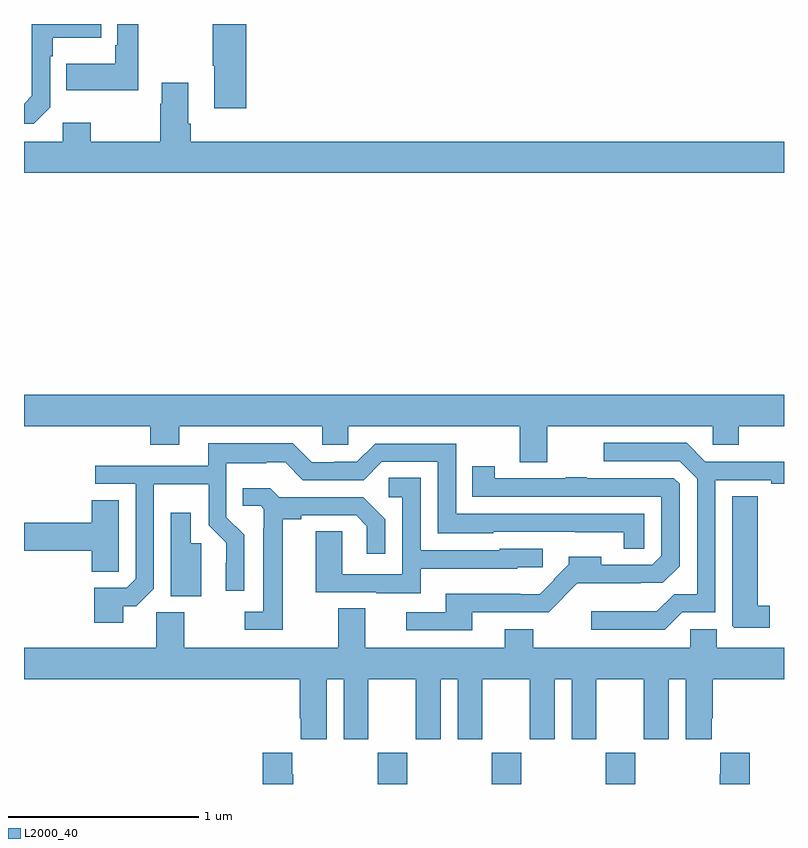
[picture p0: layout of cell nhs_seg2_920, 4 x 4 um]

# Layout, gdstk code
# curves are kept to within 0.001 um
import gdstk
lib = gdstk.Library(unit=1e-6, precision=1e-09)
def R(c, l, rs):  # rectangles x0, y0, x1, y1
    for r in rs: c.add(gdstk.rectangle(r[:2], r[2:], *l))
def A(c, l, x, y, w, h, nx, ny, dx, dy):  # array of equal rectangles
    R(c, l, [(x+i*dx, y+j*dy, x+i*dx+w, y+j*dy+h) for i in range(nx) for j in range(ny)])
def P(c, l, *ps):  # polygons
    for p in ps: c.add(gdstk.Polygon(p, *l))
L2000_40 = (2000, 40)

nhs_seg2_920 = lib.new_cell('nhs_seg2_920')
A(nhs_seg2_920, L2000_40, 160.861, 597.8, 0.155, 0.164, 3, 1, 0.6, 0)
P(nhs_seg2_920, L2000_40, [(159.601,601.8),(159.492,601.8),(159.492,601.687),(159.48,601.687),(159.48,601.591),(159.223,601.591),(159.223,601.451),(159.601,601.451)],
  [(159.138,601.362),(159.138,601.631),(159.151,601.631),(159.151,601.727),(159.407,601.727),(159.407,601.8),(159.042,601.8),(159.042,601.422),(159,601.38),(159,601.275),(159.051,601.275)],
  [(160.169,601.8),(159.994,601.8),(159.994,601.579),(160.001,601.579),(160.001,601.356),(160.169,601.356)],
  [(163,601.18),(159.878,601.18),(159.878,601.276),(159.865,601.276),(159.865,601.492),(159.725,601.492),(159.725,601.379),(159.718,601.379),(159.718,601.18),(159.351,601.18),(159.351,601.279),(159.204,601.279),(159.204,601.18),(159,601.18),(159,601.016),(163,601.016)],
  [(161.755,599.684),(162.624,599.684),(162.624,599.586),(162.763,599.586),(162.763,599.684),(163,599.684),(163,599.848),(159,599.848),(159,599.684),(159.665,599.684),(159.665,599.585),(159.817,599.585),(159.817,599.684),(160.569,599.684),(160.569,599.586),(160.707,599.586),(160.707,599.684),(161.608,599.684),(161.608,599.494),(161.755,599.494)],
  [(162.465,598.704),(162.639,598.704),(162.639,599.4),(162.932,599.4),(162.932,599.38),(163,599.38),(163,599.496),(162.586,599.496),(162.487,599.595),(162.051,599.595),(162.051,599.499),(162.45,599.499),(162.543,599.406),(162.543,598.799),(162.422,598.799),(162.331,598.708),(161.985,598.708),(161.985,598.611),(162.372,598.611)],
  [(159.523,598.735),(159.591,598.735),(159.684,598.827),(159.684,599.378),(159.972,599.378),(159.972,599.162),(160.064,599.07),(160.064,598.964),(160.062,598.964),(160.062,598.818),(160.158,598.818),(160.158,599.112),(160.065,599.205),(160.065,599.489),(160.274,599.489),(160.274,599.493),(160.374,599.493),(160.467,599.4),(160.788,599.4),(160.884,599.496),(161.178,599.496),(161.178,599.12),(161.469,599.12),(161.469,599.127),(162.156,599.126),(162.156,599.038),(162.264,599.038),(162.264,599.223),(161.274,599.223),(161.274,599.592),(160.848,599.592),(160.752,599.496),(160.632,599.496),(160.632,599.493),(160.515,599.493),(160.415,599.593),(159.971,599.593),(159.971,599.475),(159.375,599.475),(159.375,599.379),(159.588,599.379),(159.588,598.881),(159.54,598.833),(159.371,598.833),(159.371,598.65),(159.523,598.65)],
  [(161.359,598.704),(161.763,598.704),(161.839,598.781),(161.837,598.783),(161.911,598.857),(162.245,598.856),(162.245,598.858),(162.361,598.858),(162.45,598.947),(162.45,599.379),(162.42,599.409),(161.963,599.409),(161.963,599.414),(161.851,599.414),(161.851,599.409),(161.478,599.409),(161.478,599.473),(161.359,599.473),(161.359,599.313),(162.354,599.313),(162.354,599.001),(162.306,598.953),(162.037,598.953),(162.037,598.996),(161.866,598.996),(161.866,598.957),(161.787,598.878),(161.79,598.875),(161.714,598.799),(161.612,598.799),(161.612,598.801),(161.219,598.801),(161.219,598.704),(161.013,598.704),(161.013,598.608),(161.359,598.608)],
  [(161.089,598.934),(161.595,598.934),(161.595,598.941),(161.73,598.941),(161.73,599.037),(161.505,599.037),(161.505,599.031),(161.088,599.031),(161.088,599.411),(160.92,599.411),(160.92,599.31),(160.992,599.31),(160.992,598.905),(160.674,598.905),(160.674,599.129),(160.535,599.129),(160.535,598.809),(160.853,598.809),(160.853,598.805),(161.089,598.805)],
  [(160.363,599.194),(160.459,599.194),(160.459,599.214),(160.748,599.214),(160.805,599.157),(160.805,599.013),(160.902,599.013),(160.902,599.194),(160.786,599.31),(160.344,599.31),(160.296,599.357),(160.15,599.357),(160.15,599.265),(160.245,599.265),(160.263,599.247),(160.263,599.147),(160.259,599.147),(160.259,598.707),(160.161,598.707),(160.161,598.611),(160.363,598.611)],
  [(162.925,598.739),(162.862,598.739),(162.862,599.315),(162.728,599.315),(162.728,598.633),(162.738,598.623),(162.925,598.623)],
  [(159.498,599.026),(159.499,599.026),(159.499,599.294),(159.356,599.294),(159.356,599.174),(159,599.174),(159,599.027),(159.356,599.027),(159.356,598.918),(159.498,598.918)],
  [(159.934,599.067),(159.877,599.067),(159.877,599.227),(159.773,599.227),(159.773,598.789),(159.934,598.789)],
  [(160.594,598.352),(160.682,598.352),(160.682,598.035),(160.813,598.035),(160.813,598.352),(161.063,598.352),(161.063,598.035),(161.194,598.035),(161.194,598.352),(161.282,598.352),(161.282,598.035),(161.413,598.035),(161.413,598.352),(161.663,598.352),(161.663,598.035),(161.794,598.035),(161.794,598.352),(161.882,598.352),(161.882,598.035),(162.013,598.035),(162.013,598.352),(162.263,598.352),(162.263,598.035),(162.394,598.035),(162.394,598.352),(162.482,598.352),(162.482,598.035),(162.619,598.035),(162.619,598.147),(162.626,598.147),(162.626,598.352),(163,598.352),(163,598.516),(162.646,598.516),(162.646,598.614),(162.507,598.614),(162.507,598.516),(161.679,598.516),(161.679,598.615),(161.531,598.615),(161.531,598.516),(160.795,598.516),(160.795,598.724),(160.655,598.724),(160.655,598.516),(159.843,598.516),(159.843,598.704),(159.696,598.704),(159.696,598.516),(159,598.516),(159,598.352),(160.451,598.352),(160.451,598.147),(160.457,598.147),(160.457,598.035),(160.594,598.035)],
  [(162.821,597.964),(162.665,597.964),(162.665,597.851),(162.661,597.851),(162.661,597.8),(162.821,597.8)],
  [(160.416,597.851),(160.411,597.851),(160.411,597.964),(160.256,597.964),(160.256,597.8),(160.416,597.8)])

lib.write_gds('nhs_seg2_920.gds')
